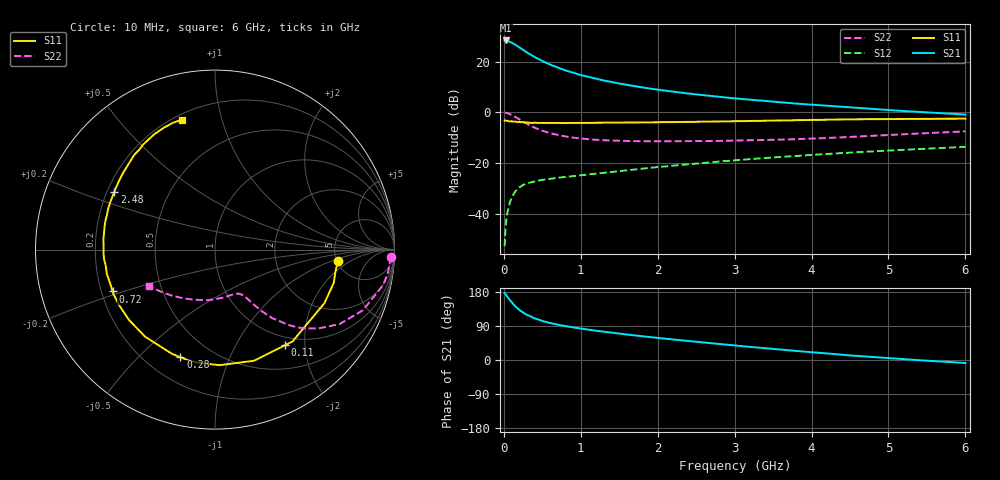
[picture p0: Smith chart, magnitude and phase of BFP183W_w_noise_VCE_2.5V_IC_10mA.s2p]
! Infineon Technologies  Discrete & RF Semiconductors
! BFP183W
! VCE = 2.5 V,  IC =  10 mA
! Common Emitter S-Parameters:  Jan 2016
# GHz  S  MA  R  50
!  f  S11  S21  S12  S22
! GHz  MAG  ANG  MAG  ANG  MAG  ANG  MAG  ANG
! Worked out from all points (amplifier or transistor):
!   210 points, 10 MHz to 6 GHz, reference 50 ohm
!   highest |S21| = 28.3 dB at 30 MHz (marker M1)
!   |S21| within 3 dB of that: start of sweep to 214.1 MHz
!   unconditionally stable (mu >= 1): 1.301 GHz to 5.252 GHz
!   at 185 MHz: K = 0.22, MSG = 28.0 dB, |S12| = -30.0 dB
!   at 1.52 GHz: K = 1.06, MAG = 15.6 dB, |S12| = -23.1 dB
!   at 6 GHz: K = 0.96, MSG = 6.4 dB, |S12| = -13.6 dB
!   lowest NFmin = 1.30 dB at 450 MHz
!   S11 on the Smith chart (normalised r, x): 10 MHz: 5.11, -1.21; 110 MHz: 0.86, -1.62; 280 MHz: 0.34, -0.67; 720 MHz: 0.25, -0.18; 2.48 GHz: 0.23, +0.25; 6 GHz: 0.23, +0.75
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0.01  0.6877 -5.2  25.98 176.3  0.0023 88.1  0.9828 -2.3
0.02  0.6824 -10.6  25.98 174.3  0.0045 83.4  0.9751 -4.8
0.03  0.687 -15.7  25.99 171.4  0.0071 82.6  0.9731 -7.2
0.05  0.6788 -26.1  25.48 165.6  0.0113 78.7  0.9578 -11.8
0.1  0.6696 -49.9  23.66 152.8  0.0206 67.9  0.8917 -22.2
0.11  0.66 -53.9  23.14 150.7  0.022 65.7  0.8736 -23.8
0.15  0.6561 -70.7  21.41 141.3  0.0278 59.3  0.8087 -30.9
0.2  0.6443 -87.7  19.01 132.2  0.0331 53.0  0.7257 -37.2
0.28  0.6299 -107.8  15.78 121.7  0.0387 46.1  0.6146 -44.2
0.3  0.6285 -112.3  15.04 119.1  0.0398 44.7  0.5893 -45.6
0.4  0.6222 -128.7  12.22 109.9  0.0436 40.5  0.496 -50.2
0.5  0.619 -140.7  10.2 103.0  0.0467 38.9  0.4323 -52.7
0.6  0.6173 -149.6  8.695 97.6  0.0488 38.1  0.3878 -54.3
0.72  0.6164 -157.8  7.42 92.5  0.0515 38.2  0.3522 -55.5
1.02  0.6162 -172.2  5.325 82.3  0.0581 39.9  0.302 -58.2
1.4  0.6244 175.2  3.936 72.0  0.0669 42.8  0.2777 -62.2
2.02  0.6366 159.6  2.763 57.9  0.0836 45.9  0.268 -71.2
2.48  0.6464 150.2  2.268 48.5  0.097 46.5  0.2699 -79.4
3.1  0.6697 138.7  1.825 36.6  0.1163 45.7  0.2777 -92.0
4.1  0.7114 123.3  1.377 19.0  0.1476 42.2  0.3067 -115.3
5.1  0.7381 111.8  1.082 3.7  0.1792 37.2  0.362 -136.6
6  0.7472 104.1  0.902 -8.0  0.2083 32.4  0.4203 -151.2
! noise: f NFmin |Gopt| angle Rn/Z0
0.45  1.3  0.15  45  0.18
0.9  1.4  0.2  125  0.19
1.8  2.1  0.34  -170  0.14
